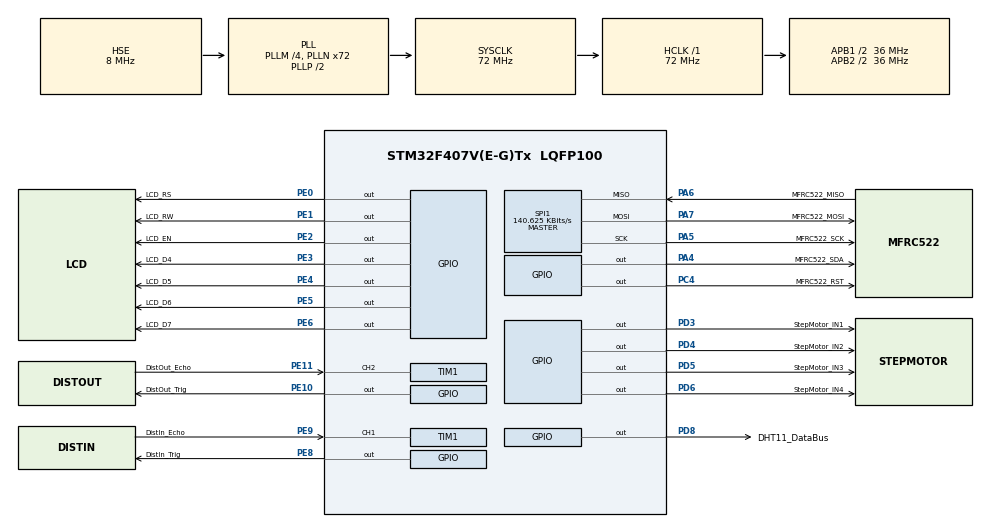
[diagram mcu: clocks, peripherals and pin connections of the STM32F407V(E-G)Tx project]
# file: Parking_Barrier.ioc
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Mcu.Family=STM32F4
Mcu.Name=STM32F407V(E-G)Tx
Mcu.Package=LQFP100
NVIC.PriorityGroup=NVIC_PRIORITYGROUP_0
NVIC.SPI1_IRQn=true\:0\:0\:false\:true\:true\:2\:true\:true\:true
NVIC.TIM1_CC_IRQn=true\:0\:0\:false\:true\:true\:3\:true\:true\:true
NVIC.TIM2_IRQn=true\:0\:0\:false\:true\:true\:1\:true\:true\:true
PA4.GPIO_Label=MFRC522_SDA
PA4.PinState=GPIO_PIN_SET
PA4.Signal=GPIO_Output
PA5.GPIO_Label=MFRC522_SCK
PA5.Mode=Full_Duplex_Master
PA5.Signal=SPI1_SCK
PA6.GPIO_Label=MFRC522_MISO
PA6.Mode=Full_Duplex_Master
PA6.Signal=SPI1_MISO
PA7.GPIO_Label=MFRC522_MOSI
PA7.Mode=Full_Duplex_Master
PA7.Signal=SPI1_MOSI
PC4.GPIO_Label=MFRC522_RST
PC4.GPIO_PuPd=GPIO_PULLUP
PC4.PinState=GPIO_PIN_SET
PC4.Signal=GPIO_Output
PD3.GPIO_Label=StepMotor_IN1
PD3.Signal=GPIO_Output
PD4.GPIO_Label=StepMotor_IN2
PD4.Signal=GPIO_Output
PD5.GPIO_Label=StepMotor_IN3
PD5.Signal=GPIO_Output
PD6.GPIO_Label=StepMotor_IN4
PD6.Signal=GPIO_Output
PD8.GPIO_Label=DHT11_DataBus
PD8.GPIO_ModeDefaultOutputPP=GPIO_MODE_OUTPUT_OD
PD8.GPIO_PuPd=GPIO_NOPULL
PD8.PinState=GPIO_PIN_SET
PD8.Signal=GPIO_Output
PE0.GPIO_Label=LCD_RS
PE0.Signal=GPIO_Output
PE1.GPIO_Label=LCD_RW
PE1.Signal=GPIO_Output
PE10.GPIO_Label=DistOut_Trig
PE10.PinState=GPIO_PIN_SET
PE10.Signal=GPIO_Output
PE11.GPIO_Label=DistOut_Echo
PE11.GPIO_ModeDefaultPP=GPIO_MODE_AF_PP
PE11.GPIO_PuPd=GPIO_NOPULL
PE11.GPIO_Speed=GPIO_SPEED_FREQ_LOW
PE11.Signal=S_TIM1_CH2
PE2.GPIO_Label=LCD_EN
PE2.Signal=GPIO_Output
PE3.GPIO_Label=LCD_D4
PE3.Signal=GPIO_Output
PE4.GPIO_Label=LCD_D5
PE4.Signal=GPIO_Output
PE5.GPIO_Label=LCD_D6
PE5.Signal=GPIO_Output
PE6.GPIO_Label=LCD_D7
PE6.Signal=GPIO_Output
PE8.GPIO_Label=DistIn_Trig
PE8.PinState=GPIO_PIN_SET
PE8.Signal=GPIO_Output
PE9.GPIO_Label=DistIn_Echo
PE9.GPIO_ModeDefaultPP=GPIO_MODE_AF_PP
PE9.GPIO_PuPd=GPIO_NOPULL
PE9.GPIO_Speed=GPIO_SPEED_FREQ_LOW
PE9.Signal=S_TIM1_CH1
PH0-OSC_IN.Mode=HSE-External-Oscillator
PH0-OSC_IN.Signal=RCC_OSC_IN
PH1-OSC_OUT.Mode=HSE-External-Oscillator
PH1-OSC_OUT.Signal=RCC_OSC_OUT
ProjectManager.HeapSize=0x200
ProjectManager.StackSize=0x400
ProjectManager.TargetToolchain=STM32CubeIDE
RCC.48MHZClocksFreq_Value=20571428.57142857
RCC.AHBFreq_Value=72000000
RCC.APB1CLKDivider=RCC_HCLK_DIV2
RCC.APB1Freq_Value=36000000
RCC.APB1TimFreq_Value=72000000
RCC.APB2CLKDivider=RCC_HCLK_DIV2
RCC.APB2Freq_Value=36000000
RCC.APB2TimFreq_Value=72000000
RCC.CortexFreq_Value=72000000
RCC.HCLKFreq_Value=72000000
RCC.HSE_VALUE=8000000
RCC.HSI_VALUE=16000000
RCC.LSE_VALUE=32768
RCC.PLLM=4
RCC.PLLN=72
RCC.PLLQ=7
RCC.PLLSourceVirtual=RCC_PLLSOURCE_HSE
RCC.SYSCLKFreq_VALUE=72000000
RCC.SYSCLKSource=RCC_SYSCLKSOURCE_PLLCLK
RCC.VCOOutputFreq_Value=144000000
SH.S_TIM1_CH1.0=TIM1_CH1,Input_Capture1_from_TI1
SH.S_TIM1_CH2.0=TIM1_CH2,Input_Capture2_from_TI2
SPI1.BaudRatePrescaler=SPI_BAUDRATEPRESCALER_256
SPI1.CalculateBaudRate=140.625 KBits/s
SPI1.Direction=SPI_DIRECTION_2LINES
SPI1.Mode=SPI_MODE_MASTER
SPI1.VirtualType=VM_MASTER
TIM1.Channel-Input_Capture1_from_TI1=TIM_CHANNEL_1
TIM1.Channel-Input_Capture2_from_TI2=TIM_CHANNEL_2
TIM1.Period=0xffff-1
TIM1.Prescaler=71
TIM2.Period=0xffff-1
TIM2.Prescaler=71
VP_TIM2_VS_ClockSourceINT.Mode=Internal
board=STM32F407G-DISC1

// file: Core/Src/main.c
/* USER CODE BEGIN Header */
/**
  ******************************************************************************
  * @file           : main.c
  * @brief          : Main program body
  ******************************************************************************
  * @attention
  *
  * Copyright (c) 2023 STMicroelectronics.
  * All rights reserved.
  *
  * This software is licensed under terms that can be found in the LICENSE file
  * in the root directory of this software component.
  * If no LICENSE file comes with this software, it is provided AS-IS.
  *
  ******************************************************************************
  */
/* USER CODE END Header */
#include "main.h"

/* USER CODE BEGIN Includes */
#include "stm32f4xx_StepperMotor.h"
#include "stdio.h"
#include "stm32f4xx_LCD1602.h"
#include "stm32f4_mfrc522.h"
#include "stm32f4xx_dht11.h"
#include "stm32f4xx_hcsr04.h"
/* USER CODE END Includes */

SPI_HandleTypeDef hspi1;

TIM_HandleTypeDef htim1;
TIM_HandleTypeDef htim2;

/* USER CODE BEGIN PV */

/* For RFID scanner */
extern uint8_t CardID[4];
extern uint8_t CardID_Print[50];
extern uint8_t buffer_Detection[50];
uint8_t CompareID[4] = {0xAA, 0xFE, 0x02, 0x3F};

/* For LCD screen */
int row = 0;
int col = 0;

/* For Distance sensor */
extern char printDistanceIn[20];
extern char printDistanceOut[20];
extern uint8_t DistanceIn;
extern uint8_t DistanceOut;

/* For Main code */
int stepCount = 0;
int distCount = 0;
int isAuthorized = 0;
int totalSpaces = 20;
char spacesPrint[20] = {'\0'};

/* USER CODE END PV */

void SystemClock_Config(void);
static void MX_GPIO_Init(void);
static void MX_TIM1_Init(void);
static void MX_TIM2_Init(void);
static void MX_SPI1_Init(void);
static void MX_NVIC_Init(void);

int main(void)
{

  /* MCU Configuration--------------------------------------------------------*/

  /* Reset of all peripherals, Initializes the Flash interface and the Systick. */
  HAL_Init();

  /* Configure the system clock */
  SystemClock_Config();

  /* Initialize all configured peripherals */
  MX_GPIO_Init();
  MX_TIM1_Init();
  MX_TIM2_Init();
  MX_SPI1_Init();

  /* Initialize interrupts */
  MX_NVIC_Init();
  /* USER CODE BEGIN 2 */
  HAL_TIM_IC_Start_IT(&htim1, TIM_CHANNEL_1);
  HAL_TIM_IC_Start_IT(&htim1, TIM_CHANNEL_2);
  HAL_TIM_Base_Start(&htim2);
  LCD1602_Init();
  MFRC522_Init();

  LCD1602_Clear();
  LCD1602_TransferString("Initializing>");

  /* Initialization, getting the values from the sensors for a few iterations so they get synchronized (otherwise some false values are provided to the main code) */
  for (int i = 0 ; i < 5 ; i++)
  	 {
  		 HAL_Delay(500);
  		 DHT11_PrintValues();
  		 HAL_Delay(500);
  		 HCSR04_ReadIn();
  		 HAL_Delay(500);
  		 HCSR04_ReadOut();
  	 }

  sprintf(spacesPrint,"Spaces left: %d", totalSpaces);
  /* USER CODE END 2 */

  /* Infinite loop */
  /* USER CODE BEGIN WHILE */
  while (1)
  {
	LCD1602_Clear();

	/* Printing Temperature and Humidity values */
	DHT11_PrintTemp();
	DHT11_PrintHum();

	/* If an object approaches any one of the Distance sensors */
	while ((DistanceIn <= 5 || DistanceOut <= 5) && distCount < 5)
	{
		/* If an object wants to enter (Distance value can vary)*/
		while (DistanceIn <= 5)
		{
			LCD1602_Clear();

			/* Indicate that an object is entering and how many spaces are left (if object had bad authorization attempt or no free spaces left, output error message)*/
			if (isAuthorized == -1)
			{
				LCD1602_CursorPosition(0, 0);
				LCD1602_TransferString("No spaces left");
				LCD1602_CursorPosition(1, 0);
				LCD1602_TransferString("or bad auth.");
			}
			else
			{
				LCD1602_CursorPosition(0, 0);
				LCD1602_TransferString("Object entering!");
				LCD1602_CursorPosition(1, 0);
				LCD1602_TransferString(spacesPrint);
				HAL_Delay(2000);
			}

			/* If no free spaces are left, gates do not open */
			if (totalSpaces <= 0)
			{
				LCD1602_Clear();
				LCD1602_CursorPosition(0, 0);
				LCD1602_TransferString("No spaces left.");
				isAuthorized = -1;
			}

			/* If there are free spaces, begin authentication process */
			while(isAuthorized == 0)
			{
				LCD1602_Clear();
				LCD1602_CursorPosition(0, 0);
				LCD1602_TransferString("Authentication?");
				HAL_Delay(2000);

				/* Checks if any RFID cards/tags were placed and if they're authorized */
				if (ReadCardValue() == MI_OK)
				{
					LCD1602_Clear();
					LCD1602_CursorPosition(0, 0);
					LCD1602_TransferString((char*)buffer_Detection);
					LCD1602_CursorPosition(1, 0);
					LCD1602_TransferString((char*)CardID_Print);
					HAL_Delay(1000);

					/* If tag ID passes the authorization check and it matches on the database, grant the pass and decrements free spaces by 1 */
					if(MFRC522_Compare(CardID, CompareID) == MI_OK)
					{
						LCD1602_Clear();
						LCD1602_CursorPosition(0, 0);
						LCD1602_TransferString("Authorized!");
						isAuthorized = 1;
						totalSpaces--;
						HAL_Delay(1000);
					}
					else
					{
						/* If  the tag ID fails to pass the authorization (the data does not match with any on the database), does not grant the pass */
						LCD1602_Clear();
						LCD1602_CursorPosition(0, 0);
						LCD1602_TransferString("Not authorized!");
						isAuthorized = -1;
						HAL_Delay(1000);
					}
				}
				else
				{
					/* Check if a correct card is placed */
					LCD1602_Clear();
					LCD1602_CursorPosition(0, 0);
					LCD1602_TransferString("No card or");
					LCD1602_CursorPosition(1, 0);
					LCD1602_TransferString("wrong card!");
					HAL_Delay(2000);
				}
			}

			/* If granted authorization, open the gates */
			if (isAuthorized == 1)
			{
				if (stepCount == 0)
				{
					StepperMotor_AngledStep(90,0,13);
					HAL_Delay(1000);
					stepCount = 1;
				}
			}

			/* Continue reading values until the object passes, so it doesn't close too early */
			HAL_Delay(1000);
			HCSR04_ReadIn();
			HAL_Delay(250);
		}

		/* If an object wants to exit (Distance value can vary)*/
		while (DistanceOut <= 5)
		{
			LCD1602_Clear();
			LCD1602_CursorPosition(0, 0);
			LCD1602_TransferString("Bye bye!");

			/* Exiting objects do not require any authorization and increments the total spaces by 1 */
			if (stepCount == 0)
			{
				StepperMotor_AngledStep(90,0,13);
				HAL_Delay(1000);
				totalSpaces++;
				stepCount = 1;
			}

			/* Continue reading values until the object passes, so it doesn't close too early */
			HAL_Delay(1000);
			HCSR04_ReadOut();
			HAL_Delay(250);
		}

		/* Close the gate if it was opened */
		if (stepCount == 1)
		{
			StepperMotor_AngledStep(90,1,13);
			stepCount = 0;
			HAL_Delay(1000);
		}

		/* Actively read the Distance sensor values for some time to increase the systems efficiency and responsiveness  */
		sprintf(spacesPrint,"Spaces left: %d", totalSpaces);
		isAuthorized = 0;
		HCSR04_ReadIn();
		HAL_Delay(250);
		HCSR04_ReadOut();
		HAL_Delay(250);
		distCount++;

	}

	/* If no more object are trying to pass the gate, gather values from both the Temperature and Humidity sensor and check the Distance sensors as well */
	distCount = 0;
	HCSR04_ReadIn();
	HAL_Delay(250);
	HCSR04_ReadOut();
	HAL_Delay(250);
	DHT11_PrintValues();
	HAL_Delay(250);

    /* USER CODE END WHILE */

  }
}

void SystemClock_Config(void)
{
  RCC_OscInitTypeDef RCC_OscInitStruct = {0};
  RCC_ClkInitTypeDef RCC_ClkInitStruct = {0};

  /** Configure the main internal regulator output voltage
  */
  __HAL_RCC_PWR_CLK_ENABLE();
  __HAL_PWR_VOLTAGESCALING_CONFIG(PWR_REGULATOR_VOLTAGE_SCALE1);

  /** Initializes the RCC Oscillators according to the specified parameters
  * in the RCC_OscInitTypeDef structure.
  */
  RCC_OscInitStruct.OscillatorType = RCC_OSCILLATORTYPE_HSE;
  RCC_OscInitStruct.HSEState = RCC_HSE_ON;
  RCC_OscInitStruct.PLL.PLLState = RCC_PLL_ON;
  RCC_OscInitStruct.PLL.PLLSource = RCC_PLLSOURCE_HSE;
  RCC_OscInitStruct.PLL.PLLM = 4;
  RCC_OscInitStruct.PLL.PLLN = 72;
  RCC_OscInitStruct.PLL.PLLP = RCC_PLLP_DIV2;
  RCC_OscInitStruct.PLL.PLLQ = 7;
  if (HAL_RCC_OscConfig(&RCC_OscInitStruct) != HAL_OK)
  {
    Error_Handler();
  }

  /** Initializes the CPU, AHB and APB buses clocks
  */
  RCC_ClkInitStruct.ClockType = RCC_CLOCKTYPE_HCLK|RCC_CLOCKTYPE_SYSCLK
                              |RCC_CLOCKTYPE_PCLK1|RCC_CLOCKTYPE_PCLK2;
  RCC_ClkInitStruct.SYSCLKSource = RCC_SYSCLKSOURCE_PLLCLK;
  RCC_ClkInitStruct.AHBCLKDivider = RCC_SYSCLK_DIV1;
  RCC_ClkInitStruct.APB1CLKDivider = RCC_HCLK_DIV2;
  RCC_ClkInitStruct.APB2CLKDivider = RCC_HCLK_DIV2;

  if (HAL_RCC_ClockConfig(&RCC_ClkInitStruct, FLASH_LATENCY_2) != HAL_OK)
  {
    Error_Handler();
  }
}

/**
  * @brief NVIC Configuration.
  * @retval None
  */
static void MX_NVIC_Init(void)
{
  /* TIM2_IRQn interrupt configuration */
  HAL_NVIC_SetPriority(TIM2_IRQn, 0, 0);
  HAL_NVIC_EnableIRQ(TIM2_IRQn);
  /* SPI1_IRQn interrupt configuration */
  HAL_NVIC_SetPriority(SPI1_IRQn, 0, 0);
  HAL_NVIC_EnableIRQ(SPI1_IRQn);
  /* TIM1_CC_IRQn interrupt configuration */
  HAL_NVIC_SetPriority(TIM1_CC_IRQn, 0, 0);
  HAL_NVIC_EnableIRQ(TIM1_CC_IRQn);
}

static void MX_SPI1_Init(void)
{

  /* SPI1 parameter configuration*/
  hspi1.Instance = SPI1;
  hspi1.Init.Mode = SPI_MODE_MASTER;
  hspi1.Init.Direction = SPI_DIRECTION_2LINES;
  hspi1.Init.DataSize = SPI_DATASIZE_8BIT;
  hspi1.Init.CLKPolarity = SPI_POLARITY_LOW;
  hspi1.Init.CLKPhase = SPI_PHASE_1EDGE;
  hspi1.Init.NSS = SPI_NSS_SOFT;
  hspi1.Init.BaudRatePrescaler = SPI_BAUDRATEPRESCALER_256;
  hspi1.Init.FirstBit = SPI_FIRSTBIT_MSB;
  hspi1.Init.TIMode = SPI_TIMODE_DISABLE;
  hspi1.Init.CRCCalculation = SPI_CRCCALCULATION_DISABLE;
  hspi1.Init.CRCPolynomial = 10;
  if (HAL_SPI_Init(&hspi1) != HAL_OK)
  {
    Error_Handler();
  }

}

static void MX_TIM1_Init(void)
{

  TIM_MasterConfigTypeDef sMasterConfig = {0};
  TIM_IC_InitTypeDef sConfigIC = {0};

  htim1.Instance = TIM1;
  htim1.Init.Prescaler = 71;
  htim1.Init.CounterMode = TIM_COUNTERMODE_UP;
  htim1.Init.Period = 0xffff-1;
  htim1.Init.ClockDivision = TIM_CLOCKDIVISION_DIV1;
  htim1.Init.RepetitionCounter = 0;
  htim1.Init.AutoReloadPreload = TIM_AUTORELOAD_PRELOAD_DISABLE;
  if (HAL_TIM_IC_Init(&htim1) != HAL_OK)
  {
    Error_Handler();
  }
  sMasterConfig.MasterOutputTrigger = TIM_TRGO_RESET;
  sMasterConfig.MasterSlaveMode = TIM_MASTERSLAVEMODE_DISABLE;
  if (HAL_TIMEx_MasterConfigSynchronization(&htim1, &sMasterConfig) != HAL_OK)
  {
    Error_Handler();
  }
  sConfigIC.ICPolarity = TIM_INPUTCHANNELPOLARITY_RISING;
  sConfigIC.ICSelection = TIM_ICSELECTION_DIRECTTI;
  sConfigIC.ICPrescaler = TIM_ICPSC_DIV1;
  sConfigIC.ICFilter = 0;
  if (HAL_TIM_IC_ConfigChannel(&htim1, &sConfigIC, TIM_CHANNEL_1) != HAL_OK)
  {
    Error_Handler();
  }
  if (HAL_TIM_IC_ConfigChannel(&htim1, &sConfigIC, TIM_CHANNEL_2) != HAL_OK)
  {
    Error_Handler();
  }

}

static void MX_TIM2_Init(void)
{

  TIM_ClockConfigTypeDef sClockSourceConfig = {0};
  TIM_MasterConfigTypeDef sMasterConfig = {0};

  htim2.Instance = TIM2;
  htim2.Init.Prescaler = 71;
  htim2.Init.CounterMode = TIM_COUNTERMODE_UP;
  htim2.Init.Period = 0xffff-1;
  htim2.Init.ClockDivision = TIM_CLOCKDIVISION_DIV1;
  htim2.Init.AutoReloadPreload = TIM_AUTORELOAD_PRELOAD_DISABLE;
  if (HAL_TIM_Base_Init(&htim2) != HAL_OK)
  {
    Error_Handler();
  }
  sClockSourceConfig.ClockSource = TIM_CLOCKSOURCE_INTERNAL;
  if (HAL_TIM_ConfigClockSource(&htim2, &sClockSourceConfig) != HAL_OK)
  {
    Error_Handler();
  }
  sMasterConfig.MasterOutputTrigger = TIM_TRGO_RESET;
  sMasterConfig.MasterSlaveMode = TIM_MASTERSLAVEMODE_DISABLE;
  if (HAL_TIMEx_MasterConfigSynchronization(&htim2, &sMasterConfig) != HAL_OK)
  {
    Error_Handler();
  }

}

static void MX_GPIO_Init(void)
{
  GPIO_InitTypeDef GPIO_InitStruct = {0};

  /* GPIO Ports Clock Enable */
  __HAL_RCC_GPIOE_CLK_ENABLE();
  __HAL_RCC_GPIOH_CLK_ENABLE();
  __HAL_RCC_GPIOA_CLK_ENABLE();
  __HAL_RCC_GPIOC_CLK_ENABLE();
  __HAL_RCC_GPIOD_CLK_ENABLE();

  /*Configure GPIO pin Output Level */
  HAL_GPIO_WritePin(GPIOE, LCD_EN_Pin|LCD_D4_Pin|LCD_D5_Pin|LCD_D6_Pin
                          |LCD_D7_Pin|LCD_RS_Pin|LCD_RW_Pin, GPIO_PIN_RESET);

  /*Configure GPIO pin Output Level */
  HAL_GPIO_WritePin(MFRC522_SDA_GPIO_Port, MFRC522_SDA_Pin, GPIO_PIN_SET);

  /*Configure GPIO pin Output Level */
  HAL_GPIO_WritePin(MFRC522_RST_GPIO_Port, MFRC522_RST_Pin, GPIO_PIN_SET);

  /*Configure GPIO pin Output Level */
  HAL_GPIO_WritePin(GPIOE, DistIn_Trig_Pin|DistOut_Trig_Pin, GPIO_PIN_SET);

  /*Configure GPIO pin Output Level */
  HAL_GPIO_WritePin(DHT11_DataBus_GPIO_Port, DHT11_DataBus_Pin, GPIO_PIN_SET);

  /*Configure GPIO pin Output Level */
  HAL_GPIO_WritePin(GPIOD, StepMotor_IN1_Pin|StepMotor_IN2_Pin|StepMotor_IN3_Pin|StepMotor_IN4_Pin, GPIO_PIN_RESET);

  /*Configure GPIO pins : LCD_EN_Pin LCD_D4_Pin LCD_D5_Pin LCD_D6_Pin
                           LCD_D7_Pin DistIn_Trig_Pin DistOut_Trig_Pin LCD_RS_Pin
                           LCD_RW_Pin */
  GPIO_InitStruct.Pin = LCD_EN_Pin|LCD_D4_Pin|LCD_D5_Pin|LCD_D6_Pin
                          |LCD_D7_Pin|DistIn_Trig_Pin|DistOut_Trig_Pin|LCD_RS_Pin
                          |LCD_RW_Pin;
  GPIO_InitStruct.Mode = GPIO_MODE_OUTPUT_PP;
  GPIO_InitStruct.Pull = GPIO_NOPULL;
  GPIO_InitStruct.Speed = GPIO_SPEED_FREQ_LOW;
  HAL_GPIO_Init(GPIOE, &GPIO_InitStruct);

  /*Configure GPIO pin : MFRC522_SDA_Pin */
  GPIO_InitStruct.Pin = MFRC522_SDA_Pin;
  GPIO_InitStruct.Mode = GPIO_MODE_OUTPUT_PP;
  GPIO_InitStruct.Pull = GPIO_NOPULL;
  GPIO_InitStruct.Speed = GPIO_SPEED_FREQ_LOW;
  HAL_GPIO_Init(MFRC522_SDA_GPIO_Port, &GPIO_InitStruct);

  /*Configure GPIO pin : MFRC522_RST_Pin */
  GPIO_InitStruct.Pin = MFRC522_RST_Pin;
  GPIO_InitStruct.Mode = GPIO_MODE_OUTPUT_PP;
  GPIO_InitStruct.Pull = GPIO_PULLUP;
  GPIO_InitStruct.Speed = GPIO_SPEED_FREQ_LOW;
  HAL_GPIO_Init(MFRC522_RST_GPIO_Port, &GPIO_InitStruct);

  /*Configure GPIO pin : DHT11_DataBus_Pin */
  GPIO_InitStruct.Pin = DHT11_DataBus_Pin;
  GPIO_InitStruct.Mode = GPIO_MODE_OUTPUT_OD;
  GPIO_InitStruct.Pull = GPIO_NOPULL;
  GPIO_InitStruct.Speed = GPIO_SPEED_FREQ_LOW;
  HAL_GPIO_Init(DHT11_DataBus_GPIO_Port, &GPIO_InitStruct);

  /*Configure GPIO pins : StepMotor_IN1_Pin StepMotor_IN2_Pin StepMotor_IN3_Pin StepMotor_IN4_Pin */
  GPIO_InitStruct.Pin = StepMotor_IN1_Pin|StepMotor_IN2_Pin|StepMotor_IN3_Pin|StepMotor_IN4_Pin;
  GPIO_InitStruct.Mode = GPIO_MODE_OUTPUT_PP;
  GPIO_InitStruct.Pull = GPIO_NOPULL;
  GPIO_InitStruct.Speed = GPIO_SPEED_FREQ_LOW;
  HAL_GPIO_Init(GPIOD, &GPIO_InitStruct);

}

/* USER CODE BEGIN 4 */
void HAL_TIM_IC_CaptureCallback(TIM_HandleTypeDef *htim)
{
	if (htim->Channel == HAL_TIM_ACTIVE_CHANNEL_1)  // if the interrupt source is channel1
	{
		HCSR04_MeasureIn(htim);
	}
	else if (htim->Channel == HAL_TIM_ACTIVE_CHANNEL_2)  // if the interrupt source is channel2
	{
		HCSR04_MeasureOut(htim);
	}
}
/* USER CODE END 4 */

void Error_Handler(void)
{
  __disable_irq();
  while (1)
  {
  }
}
